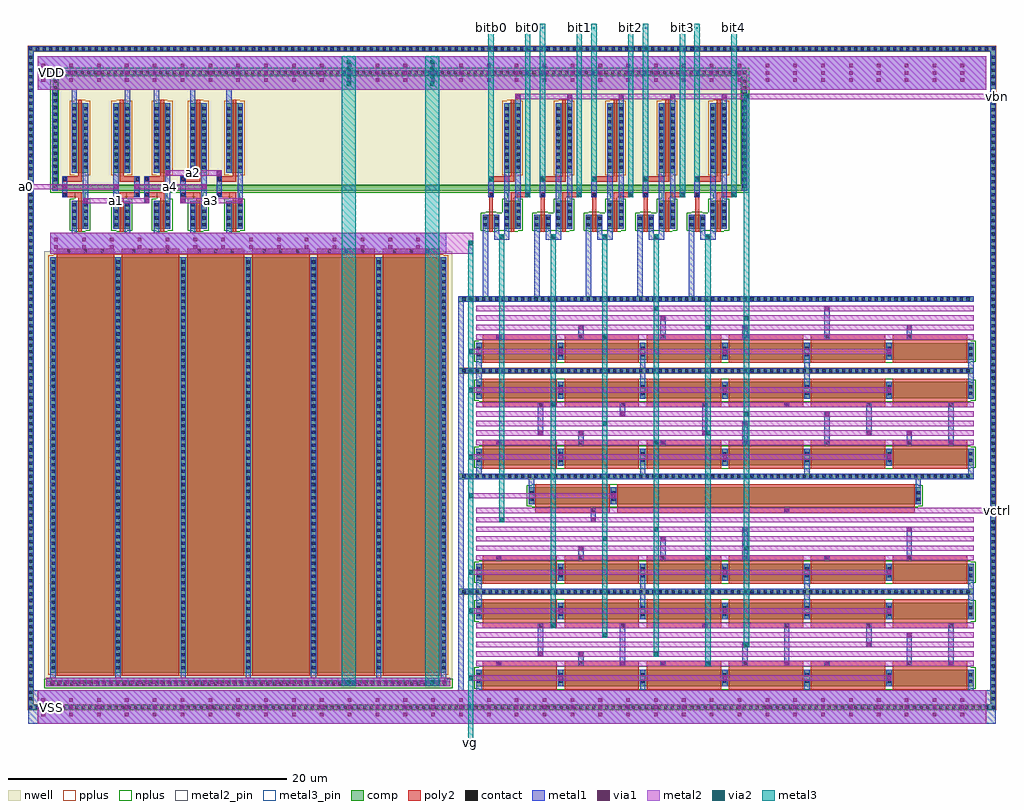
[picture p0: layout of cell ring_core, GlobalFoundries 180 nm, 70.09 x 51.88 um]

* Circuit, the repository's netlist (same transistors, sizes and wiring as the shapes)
* cfed ring core exported from sim/vco/vco_bias.py netlist() by layout/gen/export_core_v3.py
* wfu=0.3 wff=0.3 k=6 kc=0.75 ka=16.0 cvg=3e-12
* dropped: XMN1 XMN1s1 XMN1s2 XMN1s3 XMN1s4 XMN1s5 XMN1s6 XMN1s7 XMN1s8 XMN1s9 XMN1s10 XMN1s11 XMN1s12 XMN1s13 XMN2 XMN2s1 XMN2s2 XMN2s3 XMN2s4 XMN2s5 XMN2s6 XMN2s7 XMN2s8 XMN2s9 XMN2s10 XMN2s11 XMN2s12 XMN2s13 XRBW XRBN XMP1 XMP2 XMS1 XMS2 XMS3 Rvbn Cvg Cw0 Cw1 Cw2 Cw3 Cw4
.subckt ring_core VDD VSS vbn vctrl bit0 bit1 bit2 bit3 bit4 bitb0 bitb1 bitb2 bitb3 bitb4 vg a0 a1 a2 a3 a4
XTN0 g0 bit0 vbn VSS nfet_03v3 w=2u l=0.28u ad=1.0p as=1.0p pd=5.0u ps=5.0u m=1
XTP0 g0 bitb0 vbn VDD pfet_03v3 w=5u l=0.28u ad=2.5p as=2.5p pd=11.0u ps=11.0u m=1
XTD0 g0 bitb0 VSS VSS nfet_03v3 w=1u l=0.28u ad=0.5p as=0.5p pd=3.0u ps=3.0u m=1
XTN1 g1 bit1 vbn VSS nfet_03v3 w=2u l=0.28u ad=1.0p as=1.0p pd=5.0u ps=5.0u m=1
XTP1 g1 bitb1 vbn VDD pfet_03v3 w=5u l=0.28u ad=2.5p as=2.5p pd=11.0u ps=11.0u m=1
XTD1 g1 bitb1 VSS VSS nfet_03v3 w=1u l=0.28u ad=0.5p as=0.5p pd=3.0u ps=3.0u m=1
XTN2 g2 bit2 vbn VSS nfet_03v3 w=2u l=0.28u ad=1.0p as=1.0p pd=5.0u ps=5.0u m=1
XTP2 g2 bitb2 vbn VDD pfet_03v3 w=5u l=0.28u ad=2.5p as=2.5p pd=11.0u ps=11.0u m=1
XTD2 g2 bitb2 VSS VSS nfet_03v3 w=1u l=0.28u ad=0.5p as=0.5p pd=3.0u ps=3.0u m=1
XTN3 g3 bit3 vbn VSS nfet_03v3 w=2u l=0.28u ad=1.0p as=1.0p pd=5.0u ps=5.0u m=1
XTP3 g3 bitb3 vbn VDD pfet_03v3 w=5u l=0.28u ad=2.5p as=2.5p pd=11.0u ps=11.0u m=1
XTD3 g3 bitb3 VSS VSS nfet_03v3 w=1u l=0.28u ad=0.5p as=0.5p pd=3.0u ps=3.0u m=1
XTN4 g4 bit4 vbn VSS nfet_03v3 w=2u l=0.28u ad=1.0p as=1.0p pd=5.0u ps=5.0u m=1
XTP4 g4 bitb4 vbn VDD pfet_03v3 w=5u l=0.28u ad=2.5p as=2.5p pd=11.0u ps=11.0u m=1
XTD4 g4 bitb4 VSS VSS nfet_03v3 w=1u l=0.28u ad=0.5p as=0.5p pd=3.0u ps=3.0u m=1
XFC vg vbn VSS VSS nfet_03v3 w=1.2u l=5.333333333333333u ad=0.6p as=0.6p pd=3.4u ps=3.4u m=6
XFC_0 vg g0 VSS VSS nfet_03v3 w=1.2u l=5.333333333333333u ad=0.6p as=0.6p pd=3.4u ps=3.4u m=1
XFC_1 vg g1 VSS VSS nfet_03v3 w=1.2u l=5.333333333333333u ad=0.6p as=0.6p pd=3.4u ps=3.4u m=2
XFC_2 vg g2 VSS VSS nfet_03v3 w=1.2u l=5.333333333333333u ad=0.6p as=0.6p pd=3.4u ps=3.4u m=4
XFC_3 vg g3 VSS VSS nfet_03v3 w=1.2u l=5.333333333333333u ad=0.6p as=0.6p pd=3.4u ps=3.4u m=8
XFC_4 vg g4 VSS VSS nfet_03v3 w=1.2u l=5.333333333333333u ad=0.6p as=0.6p pd=3.4u ps=3.4u m=16
XFFC vg vctrl VSS VSS nfet_03v3 w=1.2u l=21.333333333333332u ad=0.6p as=0.6p pd=3.4u ps=3.4u m=1
XDC VDD vg VDD VDD pfet_03v3 w=29.82u l=4.12u m=6
XP0 a1 a0 VDD VDD pfet_03v3 w=5.0u l=0.28u ad=2.5p as=2.5p pd=11.0u ps=11.0u m=1
XN0 a1 a0 vg VSS nfet_03v3 w=2.0u l=0.28u ad=1.0p as=1.0p pd=5.0u ps=5.0u m=1
XP1 a2 a1 VDD VDD pfet_03v3 w=5.0u l=0.28u ad=2.5p as=2.5p pd=11.0u ps=11.0u m=1
XN1 a2 a1 vg VSS nfet_03v3 w=2.0u l=0.28u ad=1.0p as=1.0p pd=5.0u ps=5.0u m=1
XP2 a3 a2 VDD VDD pfet_03v3 w=5.0u l=0.28u ad=2.5p as=2.5p pd=11.0u ps=11.0u m=1
XN2 a3 a2 vg VSS nfet_03v3 w=2.0u l=0.28u ad=1.0p as=1.0p pd=5.0u ps=5.0u m=1
XP3 a4 a3 VDD VDD pfet_03v3 w=5.0u l=0.28u ad=2.5p as=2.5p pd=11.0u ps=11.0u m=1
XN3 a4 a3 vg VSS nfet_03v3 w=2.0u l=0.28u ad=1.0p as=1.0p pd=5.0u ps=5.0u m=1
XP4 a0 a4 VDD VDD pfet_03v3 w=5.0u l=0.28u ad=2.5p as=2.5p pd=11.0u ps=11.0u m=1
XN4 a0 a4 vg VSS nfet_03v3 w=2.0u l=0.28u ad=1.0p as=1.0p pd=5.0u ps=5.0u m=1
.ends

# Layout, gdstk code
import gdstk
lib = gdstk.Library(unit=1e-6, precision=1e-09)
def R(c, l, rs):  # rectangles x0, y0, x1, y1
    for r in rs: c.add(gdstk.rectangle(r[:2], r[2:], *l))
def A(c, l, x, y, w, h, nx, ny, dx, dy):  # array of equal rectangles
    R(c, l, [(x+i*dx, y+j*dy, x+i*dx+w, y+j*dy+h) for i in range(nx) for j in range(ny)])
nwell = (21, 0)
comp = (22, 0)
poly2 = (30, 0)
pplus = (31, 0)
nplus = (32, 0)
contact = (33, 0)
metal1 = (34, 0)
via1 = (35, 0)
metal2 = (36, 0)
metal2_pin = (36, 10)
via2 = (38, 0)
metal3 = (42, 0)
metal3_pin = (42, 10)

ring_inv_m = lib.new_cell('ring_inv_m')
R(ring_inv_m, nwell, [(-1.18,37.175,0,42.175)])
R(ring_inv_m, comp, [(-1.18,33.165,0,35.165), (-1.18,37.175,0,42.175)])
R(ring_inv_m, poly2, [(-0.73,32.935,-0.45,35.425), (-1.875,35.425,-0.45,35.795), (-1.875,36.545,-0.45,36.915), (-0.73,36.915,-0.45,42.405)])
R(ring_inv_m, pplus, [(-0.96,36.945,-0.22,37.015), (-1.34,37.015,0.16,42.335), (-0.96,42.335,-0.22,42.405)])
R(ring_inv_m, nplus, [(-0.96,32.935,-0.22,33.005), (-1.34,33.005,0.16,35.325), (-0.96,35.325,-0.22,35.395)])
A(ring_inv_m, contact, -1.105, 33.35, 0.22, 0.22, 1, 4, 0, 0.47)
A(ring_inv_m, contact, -0.295, 33.35, 0.22, 0.22, 1, 4, 0, 0.47)
A(ring_inv_m, contact, -1.105, 37.45, 0.22, 0.22, 1, 10, 0, 0.47)
A(ring_inv_m, contact, -0.295, 37.45, 0.22, 0.22, 1, 10, 0, 0.47)
R(ring_inv_m, contact, [(-1.8,35.5,-1.58,35.72), (-1.8,36.62,-1.58,36.84)])
R(ring_inv_m, metal1, [(-1.185,32.465,-0.805,35.17), (-0.375,33.16,0.005,42.18), (-1.88,35.42,-1.5,36.92), (-1.185,37.17,-0.805,43.555)])

ring_inv = lib.new_cell('ring_inv')
R(ring_inv, nwell, [(0,37.175,1.18,42.175)])
R(ring_inv, comp, [(0,33.165,1.18,35.165), (0,37.175,1.18,42.175)])
R(ring_inv, poly2, [(0.45,32.935,0.73,35.425), (0.45,35.425,1.875,35.795), (0.45,36.545,1.875,36.915), (0.45,36.915,0.73,42.405)])
R(ring_inv, pplus, [(0.22,36.945,0.96,37.015), (-0.16,37.015,1.34,42.335), (0.22,42.335,0.96,42.405)])
R(ring_inv, nplus, [(0.22,32.935,0.96,33.005), (-0.16,33.005,1.34,35.325), (0.22,35.325,0.96,35.395)])
A(ring_inv, contact, 0.075, 33.35, 0.22, 0.22, 1, 4, 0, 0.47)
A(ring_inv, contact, 0.885, 33.35, 0.22, 0.22, 1, 4, 0, 0.47)
A(ring_inv, contact, 0.075, 37.45, 0.22, 0.22, 1, 10, 0, 0.47)
A(ring_inv, contact, 0.885, 37.45, 0.22, 0.22, 1, 10, 0, 0.47)
R(ring_inv, contact, [(1.58,35.5,1.8,35.72), (1.58,36.62,1.8,36.84)])
R(ring_inv, metal1, [(0.805,32.465,1.185,35.17), (-0.005,33.16,0.375,42.18), (1.5,35.42,1.88,36.92), (0.805,37.17,1.185,43.555)])

ring_core = lib.new_cell('ring_core')
R(ring_core, nwell, [(-0.45,0.16,28.87,31.56), (0,35.745,50.18,44.695)])
A(ring_core, comp, 31.05, 33.165, 1.18, 1, 5, 1, 3.7, 0)
A(ring_core, comp, 32.59, 33.165, 1.18, 2, 5, 1, 3.7, 0)
A(ring_core, comp, 32.59, 37.175, 1.18, 5, 5, 1, 3.7, 0)
R(ring_core, comp, [(-1.6,-1.39,67.89,-1.01), (-1.6,-1.01,-1.22,45.895), (67.51,-1.01,67.89,45.895), (30.58,0.3,66.29,1.5), (-0.3,0.31,28.72,0.69), (0,1.29,28.42,31.11), (30.58,5.11,66.29,6.31), (29.3,6.91,66.29,7.29), (30.58,7.89,66.29,9.09), (34.37,13.38,62.5,14.58), (29.3,15.18,66.29,15.56), (30.58,16.16,66.29,17.36), (30.58,20.97,66.29,22.17), (29.3,22.77,66.29,23.15), (30.58,23.75,66.29,24.95), (29.3,27.925,66.29,28.305), (0.15,35.895,50.03,36.275), (0.15,36.275,0.53,44.165), (49.65,36.275,50.03,44.165), (0.15,44.165,50.03,44.545), (-1.6,45.895,67.89,46.275)])
A(ring_core, poly2, 31.03, 0.07, 5.335, 2.06, 6, 2, 5.895, 4.41)
A(ring_core, poly2, 0.45, 1.06, 4.12, 30.68, 6, 1, 4.68, 0)
A(ring_core, poly2, 31.03, 7.66, 5.335, 2.06, 6, 2, 5.895, 8.27)
A(ring_core, poly2, 31.03, 20.34, 5.335, 2.06, 6, 2, 5.895, 3.18)
A(ring_core, poly2, 31.455, 35.425, 0.37, 0.37, 5, 1, 3.7, 0)
A(ring_core, poly2, 33.04, 35.425, 1.425, 0.37, 5, 1, 3.7, 0)
A(ring_core, poly2, 31.455, 36.545, 1.865, 0.37, 5, 1, 3.7, 0)
A(ring_core, poly2, 33.04, 36.915, 0.28, 5.49, 5, 1, 3.7, 0)
R(ring_core, poly2, [(34.82,12.75,40.155,14.81), (40.715,12.75,62.05,14.81), (31.5,32.935,31.78,35.425), (33.04,32.935,33.32,35.425), (35.2,32.935,35.48,35.425), (36.74,32.935,37.02,35.425), (38.9,32.935,39.18,35.425), (40.44,32.935,40.72,35.425), (42.6,32.935,42.88,35.425), (44.14,32.935,44.42,35.425), (46.3,32.935,46.58,35.425), (47.84,32.935,48.12,35.425)])
A(ring_core, pplus, 32.81, 36.945, 0.74, 0.07, 5, 2, 3.7, 5.39)
A(ring_core, pplus, 32.43, 37.015, 1.5, 5.32, 5, 1, 3.7, 0)
R(ring_core, pplus, [(-1.62,-1.41,67.91,-0.99), (-1.62,-0.99,-1.2,45.875), (67.49,-0.99,67.91,45.875), (0.22,1.06,28.2,1.13), (-0.16,1.13,28.58,31.27), (29.28,6.89,66.31,7.31), (29.28,15.16,66.31,15.58), (29.28,22.75,66.31,23.17), (29.28,27.905,66.31,28.325), (0.22,31.27,28.2,31.34), (-1.62,45.875,67.91,46.295)])
A(ring_core, nplus, 30.89, 33.005, 3.04, 1.32, 5, 1, 3.7, 0)
A(ring_core, nplus, 31.27, 34.325, 0.74, 0.07, 5, 1, 3.7, 0)
A(ring_core, nplus, 32.43, 34.325, 1.5, 1, 5, 1, 3.7, 0)
A(ring_core, nplus, 32.81, 35.325, 0.74, 0.41, 5, 1, 3.7, 0)
A(ring_core, nplus, 7.65, 35.395, 0.74, 0.34, 3, 1, 2.6, 0)
R(ring_core, nplus, [(30.8,0.07,66.07,0.14), (30.42,0.14,66.45,1.66), (-0.46,0.15,28.88,0.75), (-0.46,0.75,0.14,0.85), (28.28,0.75,28.88,0.85), (30.8,1.66,66.07,1.73), (30.8,4.88,66.07,4.95), (30.42,4.95,66.45,6.47), (30.8,6.47,66.07,6.54), (30.8,7.66,66.07,7.73), (30.42,7.73,66.45,9.25), (30.8,9.25,66.07,9.32), (34.59,13.15,62.28,13.22), (34.21,13.22,62.66,14.74), (34.59,14.74,62.28,14.81), (30.8,15.93,66.07,16), (30.42,16,66.45,17.52), (30.8,17.52,66.07,17.59), (30.8,20.74,66.07,20.81), (30.42,20.81,66.45,22.33), (30.8,22.33,66.07,22.4), (30.8,23.52,66.07,23.59), (30.42,23.59,66.45,25.11), (30.8,25.11,66.07,25.18), (31.27,32.935,32.01,33.005), (32.81,32.935,33.55,33.005), (34.97,32.935,35.71,33.005), (36.51,32.935,37.25,33.005), (38.67,32.935,39.41,33.005), (40.21,32.935,40.95,33.005), (42.37,32.935,43.11,33.005), (43.91,32.935,44.65,33.005), (46.07,32.935,46.81,33.005), (47.61,32.935,48.35,33.005), (1.75,35.395,2.49,35.735), (4.75,35.395,5.49,35.735), (-0.01,35.735,50.19,36.335), (-0.01,36.335,0.59,44.105), (49.59,36.335,50.19,44.105), (-0.01,44.105,50.19,44.705)])
A(ring_core, contact, -1.04, -1.31, 0.22, 0.22, 146, 2, 0.47, 47.285)
A(ring_core, contact, -1.52, -0.7, 0.22, 0.22, 1, 99, 0, 0.47)
A(ring_core, contact, 67.59, -0.7, 0.22, 0.22, 1, 99, 0, 0.47)
A(ring_core, contact, 0, 0.39, 0.22, 0.22, 61, 1, 0.47, 0)
A(ring_core, contact, 36.535, 0.555, 0.22, 0.22, 5, 2, 5.895, 0.47)
A(ring_core, contact, 0.075, 1.52, 0.22, 0.22, 1, 63, 0, 0.47)
A(ring_core, contact, 4.74, 1.52, 0.22, 0.22, 5, 63, 4.68, 0.47)
A(ring_core, contact, 28.125, 1.52, 0.22, 0.22, 1, 63, 0, 0.47)
A(ring_core, contact, 32.085, 1.835, 0.22, 0.22, 6, 2, 5.895, 7.59)
A(ring_core, contact, 35.085, 4.555, 0.22, 0.22, 6, 2, 5.895, 15.86)
A(ring_core, contact, 36.535, 5.365, 0.22, 0.22, 5, 2, 5.895, 0.47)
A(ring_core, contact, 29.59, 6.99, 0.22, 0.22, 78, 2, 0.47, 8.27)
A(ring_core, contact, 36.535, 8.145, 0.22, 0.22, 5, 2, 5.895, 0.47)
A(ring_core, contact, 36.535, 16.415, 0.22, 0.22, 5, 2, 5.895, 0.47)
A(ring_core, contact, 32.085, 17.695, 0.22, 0.22, 6, 2, 5.895, 7.59)
A(ring_core, contact, 36.535, 21.225, 0.22, 0.22, 5, 2, 5.895, 0.47)
A(ring_core, contact, 29.59, 22.85, 0.22, 0.22, 78, 2, 0.47, 5.155)
A(ring_core, contact, 36.535, 24.005, 0.22, 0.22, 5, 2, 5.895, 0.47)
A(ring_core, contact, 1.2, 31.445, 0.22, 0.22, 3, 1, 1.2, 0)
A(ring_core, contact, 5.88, 31.445, 0.22, 0.22, 3, 1, 1.2, 0)
A(ring_core, contact, 10.56, 31.445, 0.22, 0.22, 3, 1, 1.2, 0)
A(ring_core, contact, 15.24, 31.445, 0.22, 0.22, 3, 1, 1.2, 0)
A(ring_core, contact, 19.92, 31.445, 0.22, 0.22, 3, 1, 1.2, 0)
A(ring_core, contact, 24.6, 31.445, 0.22, 0.22, 3, 1, 1.2, 0)
A(ring_core, contact, 32.665, 33.35, 0.22, 0.22, 1, 4, 0, 0.47)
A(ring_core, contact, 33.475, 33.35, 0.22, 0.22, 1, 4, 0, 0.47)
A(ring_core, contact, 36.365, 33.35, 0.22, 0.22, 1, 4, 0, 0.47)
A(ring_core, contact, 37.175, 33.35, 0.22, 0.22, 1, 4, 0, 0.47)
A(ring_core, contact, 40.065, 33.35, 0.22, 0.22, 1, 4, 0, 0.47)
A(ring_core, contact, 40.875, 33.35, 0.22, 0.22, 1, 4, 0, 0.47)
A(ring_core, contact, 43.765, 33.35, 0.22, 0.22, 1, 4, 0, 0.47)
A(ring_core, contact, 44.575, 33.35, 0.22, 0.22, 1, 4, 0, 0.47)
A(ring_core, contact, 47.465, 33.35, 0.22, 0.22, 1, 4, 0, 0.47)
A(ring_core, contact, 48.275, 33.35, 0.22, 0.22, 1, 4, 0, 0.47)
A(ring_core, contact, 0.23, 36.115, 0.22, 0.22, 1, 17, 0, 0.47)
A(ring_core, contact, 49.73, 36.115, 0.22, 0.22, 1, 17, 0, 0.47)
A(ring_core, contact, 31.53, 36.62, 0.22, 0.22, 5, 1, 3.7, 0)
A(ring_core, contact, 32.665, 37.45, 0.22, 0.22, 1, 10, 0, 0.47)
A(ring_core, contact, 33.475, 37.45, 0.22, 0.22, 1, 10, 0, 0.47)
A(ring_core, contact, 36.365, 37.45, 0.22, 0.22, 1, 10, 0, 0.47)
A(ring_core, contact, 37.175, 37.45, 0.22, 0.22, 1, 10, 0, 0.47)
A(ring_core, contact, 40.065, 37.45, 0.22, 0.22, 1, 10, 0, 0.47)
A(ring_core, contact, 40.875, 37.45, 0.22, 0.22, 1, 10, 0, 0.47)
A(ring_core, contact, 43.765, 37.45, 0.22, 0.22, 1, 10, 0, 0.47)
A(ring_core, contact, 44.575, 37.45, 0.22, 0.22, 1, 10, 0, 0.47)
A(ring_core, contact, 47.465, 37.45, 0.22, 0.22, 1, 10, 0, 0.47)
A(ring_core, contact, 48.275, 37.45, 0.22, 0.22, 1, 10, 0, 0.47)
A(ring_core, contact, 0.775, 44.245, 0.22, 0.22, 104, 1, 0.47, 0)
R(ring_core, contact, [(-1.52,-1.31,-1.3,-1.09), (67.59,-1.31,67.81,-1.09), (30.655,0.555,30.875,0.775), (65.995,0.555,66.215,0.775), (30.655,1.025,30.875,1.245), (65.995,1.025,66.215,1.245), (30.655,5.365,30.875,5.585), (65.995,5.365,66.215,5.585), (30.655,5.835,30.875,6.055), (65.995,5.835,66.215,6.055), (30.655,8.145,30.875,8.365), (65.995,8.145,66.215,8.365), (30.655,8.615,30.875,8.835), (65.995,8.615,66.215,8.835), (38.875,12.825,39.095,13.045), (52.77,12.825,52.99,13.045), (34.445,13.635,34.665,13.855), (40.325,13.635,40.545,13.855), (62.205,13.635,62.425,13.855), (34.445,14.105,34.665,14.325), (40.325,14.105,40.545,14.325), (62.205,14.105,62.425,14.325), (30.655,16.415,30.875,16.635), (65.995,16.415,66.215,16.635), (30.655,16.885,30.875,17.105), (65.995,16.885,66.215,17.105), (30.655,21.225,30.875,21.445), (65.995,21.225,66.215,21.445), (30.655,21.695,30.875,21.915), (65.995,21.695,66.215,21.915), (30.655,24.005,30.875,24.225), (65.995,24.005,66.215,24.225), (30.655,24.475,30.875,24.695), (65.995,24.475,66.215,24.695), (31.125,33.32,31.345,33.54), (31.935,33.32,32.155,33.54), (34.825,33.32,35.045,33.54), (35.635,33.32,35.855,33.54), (38.525,33.32,38.745,33.54), (39.335,33.32,39.555,33.54), (42.225,33.32,42.445,33.54), (43.035,33.32,43.255,33.54), (45.925,33.32,46.145,33.54), (46.735,33.32,46.955,33.54), (31.125,33.79,31.345,34.01), (31.935,33.79,32.155,34.01), (34.825,33.79,35.045,34.01), (35.635,33.79,35.855,34.01), (38.525,33.79,38.745,34.01), (39.335,33.79,39.555,34.01), (42.225,33.79,42.445,34.01), (43.035,33.79,43.255,34.01), (45.925,33.79,46.145,34.01), (46.735,33.79,46.955,34.01), (31.53,35.5,31.75,35.72), (34.17,35.5,34.39,35.72), (35.23,35.5,35.45,35.72), (37.87,35.5,38.09,35.72), (38.93,35.5,39.15,35.72), (41.57,35.5,41.79,35.72), (42.63,35.5,42.85,35.72), (45.27,35.5,45.49,35.72), (46.33,35.5,46.55,35.72), (48.97,35.5,49.19,35.72), (0.23,44.245,0.45,44.465), (49.73,44.245,49.95,44.465), (-1.52,45.975,-1.3,46.195), (67.59,45.975,67.81,46.195)])
A(ring_core, metal1, 36.455, 0.295, 0.38, 1.21, 3, 2, 11.79, 4.81)
A(ring_core, metal1, 4.66, 0.9, 0.38, 30.215, 5, 1, 4.68, 0)
A(ring_core, metal1, 32.005, 1.755, 0.38, 0.38, 3, 1, 11.79, 0)
A(ring_core, metal1, 40.9, 1.755, 0.38, 3.1, 3, 1, 11.79, 0)
A(ring_core, metal1, 36.455, 7.885, 0.38, 1.21, 3, 2, 11.79, 8.27)
A(ring_core, metal1, 35.005, 18.295, 0.38, 2.42, 3, 1, 11.79, 0)
A(ring_core, metal1, 36.455, 20.965, 0.38, 1.21, 3, 2, 11.79, 2.78)
A(ring_core, metal1, 37.9, 25.205, 0.38, 1.06, 3, 1, 11.79, 0)
A(ring_core, metal1, 31.045, 28.305, 0.38, 5.865, 5, 1, 3.7, 0)
A(ring_core, metal1, 31.855, 32.375, 1.11, 0.38, 5, 1, 3.7, 0)
A(ring_core, metal1, 31.855, 32.755, 0.38, 1.415, 5, 1, 3.7, 0)
A(ring_core, metal1, 32.585, 32.755, 0.38, 9.425, 5, 1, 3.7, 0)
A(ring_core, metal1, 33.395, 33.16, 0.38, 9.695, 5, 1, 3.7, 0)
A(ring_core, metal1, 31.45, 35.42, 0.38, 1.5, 5, 1, 3.7, 0)
A(ring_core, metal1, 34.09, 35.42, 0.38, 0.38, 5, 1, 3.7, 0)
R(ring_core, metal1, [(-1.605,-2.4,67.895,0), (-1.605,0,-1.215,45.89), (29.3,0,29.68,6.91), (30.575,0,30.955,1.505), (42.35,0,42.73,1.505), (54.14,0,54.52,1.505), (65.915,0,66.295,1.505), (67.505,0,67.895,45.89), (-0.305,0.3,28.725,0.9), (-0.005,0.9,0.375,31.115), (28.045,0.9,28.425,31.115), (37.9,1.755,38.28,2.815), (49.69,1.755,50.07,3.495), (61.48,1.755,61.86,4.175), (35.005,2.435,35.385,4.855), (58.585,3.115,58.965,4.855), (46.795,4.475,47.175,4.855), (30.575,5.105,30.955,6.91), (42.35,5.105,42.73,6.91), (54.14,5.105,54.52,6.91), (65.915,5.105,66.295,6.91), (29.3,6.91,66.295,7.29), (29.3,7.29,29.68,15.18), (30.575,7.29,30.955,9.095), (42.35,7.29,42.73,9.095), (54.14,7.29,54.52,9.095), (65.915,7.29,66.295,9.095), (32.005,9.345,32.385,9.725), (37.9,9.345,38.28,10.405), (43.795,9.345,44.175,11.085), (49.69,9.345,50.07,11.765), (55.585,9.345,55.965,9.725), (61.48,9.345,61.86,11.765), (38.795,12.065,39.175,13.125), (52.69,12.745,53.07,13.125), (34.365,13.375,34.745,15.18), (40.245,13.375,40.625,14.585), (62.125,13.375,62.505,15.18), (29.3,15.18,66.295,15.56), (29.3,15.56,29.68,22.77), (30.575,15.56,30.955,17.365), (42.35,15.56,42.73,17.365), (54.14,15.56,54.52,17.365), (65.915,15.56,66.295,17.365), (32.005,17.615,32.385,17.995), (37.9,17.615,38.28,18.675), (43.795,17.615,44.175,17.995), (49.69,17.615,50.07,19.355), (55.585,17.615,55.965,20.035), (61.48,17.615,61.86,18.675), (64.48,17.615,64.86,20.715), (40.9,19.655,41.28,20.715), (52.69,20.335,53.07,20.715), (30.575,20.965,30.955,22.77), (42.35,20.965,42.73,22.77), (54.14,20.965,54.52,22.77), (65.915,20.965,66.295,22.77), (29.3,22.77,66.295,23.15), (29.3,23.15,29.68,27.925), (30.575,23.15,30.955,24.955), (42.35,23.15,42.73,24.955), (54.14,23.15,54.52,24.955), (65.915,23.15,66.295,24.955), (32.005,25.205,32.385,25.585), (43.795,25.205,44.175,26.945), (55.585,25.205,55.965,27.625), (29.3,27.925,66.29,28.305), (0,31.365,28.42,32.865), (2.335,34.98,2.715,35.36), (6.73,34.98,7.11,36.92), (9.33,34.98,9.71,36.92), (13.435,34.98,13.815,35.36), (0.83,35.42,1.21,36.92), (6.03,35.42,6.41,36.92), (11.93,35.42,12.31,37.36), (0.145,35.89,0.535,43.155), (49.645,35.89,50.035,43.155), (4.525,35.98,4.905,36.36), (10.835,35.98,11.215,36.36), (8.235,36.98,8.615,37.36), (-0.92,43.155,67.21,45.555), (-1.605,45.89,67.895,46.28)])
A(ring_core, via1, -0.65, -1.85, 0.26, 0.26, 34, 3, 2, 0.52)
A(ring_core, via1, 0.04, 0.47, 0.26, 0.26, 55, 1, 0.52, 0)
A(ring_core, via1, 36.515, 0.77, 0.26, 0.26, 3, 2, 11.79, 4.81)
A(ring_core, via1, 36.515, 8.36, 0.26, 0.26, 3, 2, 11.79, 8.27)
A(ring_core, via1, 36.515, 21.44, 0.26, 0.26, 3, 2, 11.79, 2.78)
A(ring_core, via1, 37.96, 25.945, 0.26, 0.26, 3, 1, 11.79, 0)
A(ring_core, via1, 0.27, 31.725, 0.26, 0.26, 14, 2, 2, 0.52)
A(ring_core, via1, 32.28, 32.435, 0.26, 0.26, 5, 1, 3.7, 0)
A(ring_core, via1, 34.15, 35.48, 0.26, 0.26, 5, 1, 3.7, 0)
A(ring_core, via1, 31.51, 36.6, 0.26, 0.26, 5, 1, 3.7, 0)
A(ring_core, via1, 33.455, 42.535, 0.26, 0.26, 5, 1, 3.7, 0)
A(ring_core, via1, -0.65, 43.705, 0.26, 0.26, 34, 3, 2, 0.52)
R(ring_core, via1, [(32.065,1.815,32.325,2.075), (40.96,1.815,41.22,2.075), (43.855,1.815,44.115,2.075), (52.75,1.815,53.01,2.075), (55.645,1.815,55.905,2.075), (64.54,1.815,64.8,2.075), (35.065,2.495,35.325,2.755), (37.96,2.495,38.22,2.755), (49.75,3.175,50.01,3.435), (58.645,3.175,58.905,3.435), (61.54,3.855,61.8,4.115), (46.855,4.535,47.115,4.795), (32.065,9.405,32.325,9.665), (55.645,9.405,55.905,9.665), (37.96,10.085,38.22,10.345), (43.855,10.765,44.115,11.025), (49.75,11.445,50.01,11.705), (61.54,11.445,61.8,11.705), (38.855,12.125,39.115,12.385), (52.75,12.805,53.01,13.065), (40.305,13.85,40.565,14.11), (32.065,17.675,32.325,17.935), (43.855,17.675,44.115,17.935), (64.54,17.675,64.8,17.935), (35.065,18.355,35.325,18.615), (37.96,18.355,38.22,18.615), (46.855,18.355,47.115,18.615), (58.645,18.355,58.905,18.615), (61.54,18.355,61.8,18.615), (49.75,19.035,50.01,19.295), (40.96,19.715,41.22,19.975), (55.645,19.715,55.905,19.975), (52.75,20.395,53.01,20.655), (32.065,25.265,32.325,25.525), (43.855,26.625,44.115,26.885), (55.645,27.305,55.905,27.565), (2.395,35.04,2.655,35.3), (6.79,35.04,7.05,35.3), (9.39,35.04,9.65,35.3), (13.495,35.04,13.755,35.3), (0.89,36.04,1.15,36.3), (4.585,36.04,4.845,36.3), (6.09,36.04,6.35,36.3), (10.895,36.04,11.155,36.3), (8.295,37.04,8.555,37.3), (11.99,37.04,12.25,37.3)])
A(ring_core, metal2, 30.58, 1.755, 35.71, 0.38, 1, 5, 0, 0.68)
A(ring_core, metal2, 30.58, 9.345, 35.71, 0.38, 1, 5, 0, 0.68)
A(ring_core, metal2, 30.58, 17.615, 35.71, 0.38, 1, 5, 0, 0.68)
A(ring_core, metal2, 30.58, 25.205, 35.71, 0.38, 1, 4, 0, 0.68)
A(ring_core, metal2, 32.22, 32.375, 0.38, 0.38, 5, 1, 3.7, 0)
A(ring_core, metal2, 34.09, 35.42, 0.38, 0.38, 5, 1, 3.7, 0)
A(ring_core, metal2, 31.45, 36.54, 0.38, 0.38, 5, 1, 3.7, 0)
R(ring_core, metal2, [(-0.92,-2.4,67.21,0), (-0.305,0.3,28.725,0.9), (30,0.71,60.415,1.09), (30,5.52,60.415,5.9), (30,8.3,60.415,8.68), (30.58,12.745,68.19,13.125), (30,13.79,40.625,14.17), (30,16.57,60.415,16.95), (30,21.38,60.415,21.76), (30,24.16,60.415,24.54), (0,31.365,30.38,32.865), (2.335,34.98,7.11,35.36), (9.33,34.98,13.815,35.36), (-1.9,35.98,4.905,36.36), (6.03,35.98,11.215,36.36), (8.235,36.98,12.31,37.36), (33.395,42.475,68.19,42.855), (-0.92,43.155,67.21,45.555)])
R(ring_core, metal2_pin, [(0.03,-1.25,0.13,-1.15), (67.94,12.885,68.04,12.985), (4.67,35.12,4.77,35.22), (11.52,35.12,11.62,35.22), (-1.75,36.12,-1.65,36.22), (8.57,36.12,8.67,36.22), (10.22,37.12,10.32,37.22), (67.94,42.615,68.04,42.715), (0.03,44.305,0.13,44.405)])
A(ring_core, via2, 32.28, 32.435, 0.26, 0.26, 5, 1, 3.7, 0)
A(ring_core, via2, 34.15, 35.48, 0.26, 0.26, 5, 1, 3.7, 0)
A(ring_core, via2, 31.51, 36.6, 0.26, 0.26, 5, 1, 3.7, 0)
A(ring_core, via2, 21.29, 43.445, 0.26, 0.26, 1, 4, 0, 0.52)
A(ring_core, via2, 27.29, 43.445, 0.26, 0.26, 1, 4, 0, 0.52)
R(ring_core, via2, [(21.29,0.47,21.55,0.73), (27.29,0.47,27.55,0.73), (30.06,0.77,30.32,1.03), (47.08,1.815,47.34,2.075), (43.38,2.495,43.64,2.755), (49.85,3.175,50.11,3.435), (39.68,3.855,39.94,4.115), (35.98,4.535,36.24,4.795), (30.06,5.58,30.32,5.84), (30.06,8.36,30.32,8.62), (47.08,9.405,47.34,9.665), (49.85,10.085,50.11,10.345), (39.68,10.765,39.94,11.025), (43.38,11.445,43.64,11.705), (32.28,12.125,32.54,12.385), (30.06,13.85,30.32,14.11), (30.06,16.63,30.32,16.89), (43.38,17.675,43.64,17.935), (47.08,18.355,47.34,18.615), (39.68,19.035,39.94,19.295), (49.85,19.715,50.11,19.975), (35.98,20.395,36.24,20.655), (30.06,21.44,30.32,21.7), (30.06,24.22,30.32,24.48), (39.68,25.265,39.94,25.525), (47.08,25.945,47.34,26.205), (49.85,26.625,50.11,26.885), (43.38,27.305,43.64,27.565), (30.06,31.985,30.32,32.245), (49.85,42.535,50.11,42.795)])
A(ring_core, metal3, 34.09, 35.42, 0.38, 12.455, 5, 1, 3.7, 0)
A(ring_core, metal3, 31.45, 36.54, 0.38, 11.335, 5, 1, 3.7, 0)
R(ring_core, metal3, [(30,-4,30.38,32.305), (20.92,0.3,21.92,45.555), (26.92,0.3,27.92,45.555), (47.02,1.755,47.4,32.755), (43.32,2.435,43.7,32.755), (49.79,3.115,50.17,42.855), (39.62,3.795,40,32.755), (35.92,4.475,36.3,32.755), (32.22,12.065,32.6,32.755)])
R(ring_core, metal3_pin, [(30.14,-3.75,30.24,-3.65), (31.59,47.525,31.69,47.625), (34.23,47.525,34.33,47.625), (35.29,47.525,35.39,47.625), (37.93,47.525,38.03,47.625), (38.99,47.525,39.09,47.625), (41.63,47.525,41.73,47.625), (42.69,47.525,42.79,47.625), (45.33,47.525,45.43,47.625), (46.39,47.525,46.49,47.625), (49.03,47.525,49.13,47.625)])
ring_core.add(gdstk.Reference(ring_inv_m, (13.81,0)))
ring_core.add(gdstk.Reference(ring_inv_m, (11.21,0)))
ring_core.add(gdstk.Reference(ring_inv_m, (8.61,0)))
ring_core.add(gdstk.Reference(ring_inv, (4.53,0)))
ring_core.add(gdstk.Reference(ring_inv_m, (2.71,0)))
ring_core.add(gdstk.Label('a4', (8.62,36.17), layer=36, texttype=10))
ring_core.add(gdstk.Label('a1', (4.72,35.17), layer=36, texttype=10))
ring_core.add(gdstk.Label('a3', (11.57,35.17), layer=36, texttype=10))
ring_core.add(gdstk.Label('a2', (10.27,37.17), layer=36, texttype=10))
ring_core.add(gdstk.Label('VSS', (0.08,-1.2), layer=36, texttype=10))
ring_core.add(gdstk.Label('VDD', (0.08,44.355), layer=36, texttype=10))
ring_core.add(gdstk.Label('a0', (-1.7,36.17), layer=36, texttype=10))
ring_core.add(gdstk.Label('vg', (30.19,-3.7), layer=42, texttype=10))
ring_core.add(gdstk.Label('bit0', (34.28,47.575), layer=42, texttype=10))
ring_core.add(gdstk.Label('bit1', (37.98,47.575), layer=42, texttype=10))
ring_core.add(gdstk.Label('bit2', (41.68,47.575), layer=42, texttype=10))
ring_core.add(gdstk.Label('bit3', (45.38,47.575), layer=42, texttype=10))
ring_core.add(gdstk.Label('bit4', (49.08,47.575), layer=42, texttype=10))
ring_core.add(gdstk.Label('bitb0', (31.64,47.575), layer=42, texttype=10))
ring_core.add(gdstk.Label('bitb1', (35.34,47.575), layer=42, texttype=10))
ring_core.add(gdstk.Label('bitb2', (39.04,47.575), layer=42, texttype=10))
ring_core.add(gdstk.Label('bitb3', (42.74,47.575), layer=42, texttype=10))
ring_core.add(gdstk.Label('bitb4', (46.44,47.575), layer=42, texttype=10))
ring_core.add(gdstk.Label('vbn', (67.99,42.665), layer=36, texttype=10))
ring_core.add(gdstk.Label('vctrl', (67.99,12.935), layer=36, texttype=10))

lib.write_gds('ring_core.gds')
